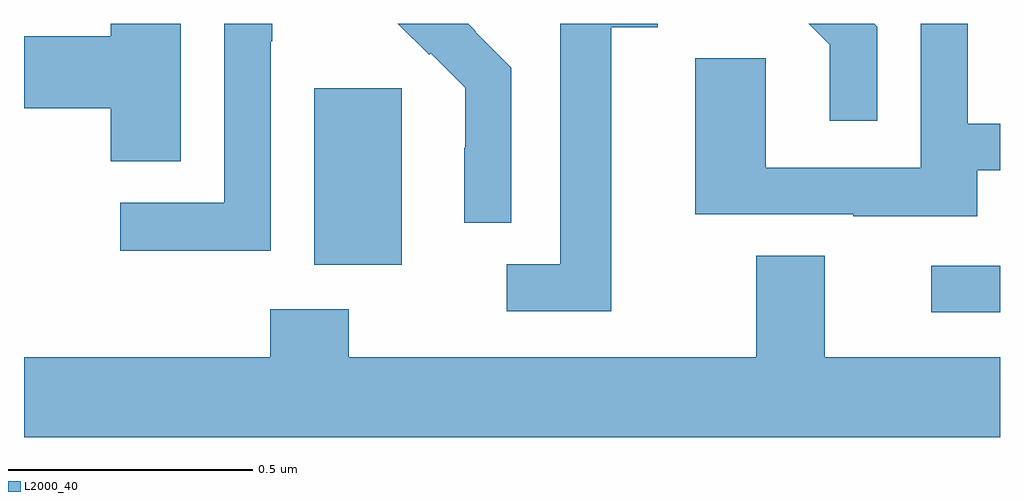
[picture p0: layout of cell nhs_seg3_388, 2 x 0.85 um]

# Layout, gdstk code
import gdstk
lib = gdstk.Library(unit=1e-6, precision=1e-09)
def R(c, l, rs):  # rectangles x0, y0, x1, y1
    for r in rs: c.add(gdstk.rectangle(r[:2], r[2:], *l))
def P(c, l, *ps):  # polygons
    for p in ps: c.add(gdstk.Polygon(p, *l))
L2000_40 = (2000, 40)

nhs_seg3_388 = lib.new_cell('nhs_seg3_388')
R(nhs_seg3_388, L2000_40, [(116.859,731.808,117,731.904), (115.595,731.906,115.774,732.267)])
P(nhs_seg3_388, L2000_40, [(115.321,732.4),(115.178,732.4),(115.178,732.374),(115,732.374),(115,732.227),(115.178,732.227),(115.178,732.118),(115.321,732.118)],
  [(116.203,732.392),(116.299,732.392),(116.299,732.4),(116.099,732.4),(116.099,731.907),(115.989,731.907),(115.989,731.811),(116.203,731.811)],
  [(116.748,732.394),(116.742,732.4),(116.608,732.4),(116.651,732.357),(116.651,732.201),(116.748,732.201)],
  [(116.953,732.099),(117,732.099),(117,732.195),(116.934,732.195),(116.934,732.4),(116.838,732.4),(116.838,732.105),(116.52,732.105),(116.52,732.329),(116.375,732.329),(116.375,732.009),(116.699,732.009),(116.699,732.005),(116.953,732.005)],
  [(115.506,732.364),(115.509,732.364),(115.509,732.4),(115.41,732.4),(115.41,732.033),(115.197,732.033),(115.197,731.935),(115.506,731.935)],
  [(115.998,732.31),(115.925,732.383),(115.926,732.384),(115.91,732.4),(115.766,732.4),(115.83,732.336),(115.833,732.339),(115.904,732.269),(115.904,732.146),(115.902,732.146),(115.902,731.992),(115.998,731.992)],
  [(117,731.716),(116.641,731.716),(116.641,731.924),(116.501,731.924),(116.501,731.716),(115.665,731.716),(115.665,731.815),(115.505,731.815),(115.505,731.716),(115,731.716),(115,731.552),(117,731.552)])

lib.write_gds('nhs_seg3_388.gds')
